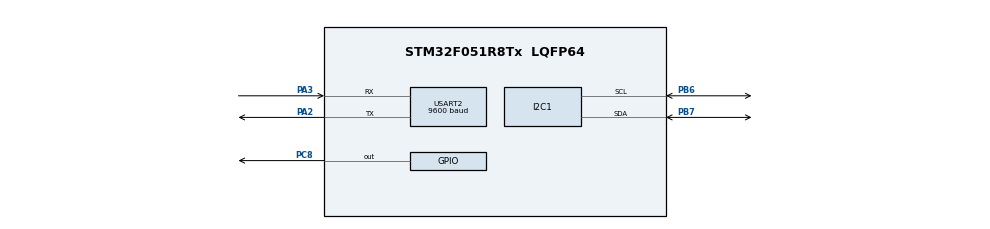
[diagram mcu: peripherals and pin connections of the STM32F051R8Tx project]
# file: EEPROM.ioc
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Mcu.Family=STM32F0
Mcu.Name=STM32F051R8Tx
Mcu.Package=LQFP64
PA2.Mode=Asynchronous
PA2.Signal=USART2_TX
PA3.Mode=Asynchronous
PA3.Signal=USART2_RX
PB6.Mode=I2C
PB6.Signal=I2C1_SCL
PB7.Mode=I2C
PB7.Signal=I2C1_SDA
PC8.Signal=GPIO_Output
ProjectManager.HeapSize=0x200
ProjectManager.StackSize=0x400
ProjectManager.TargetToolchain=STM32CubeIDE
USART2.BaudRate=9600
USART2.VirtualMode-Asynchronous=VM_ASYNC
board=custom

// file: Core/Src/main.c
/* USER CODE BEGIN Header */
/**
 ******************************************************************************
 * @file           : main.c
 * @brief          : Main program body
 ******************************************************************************
 * @attention
 *
 * Copyright (c) 2022 STMicroelectronics.
 * All rights reserved.
 *
 * This software is licensed under terms that can be found in the LICENSE file
 * in the root directory of this software component.
 * If no LICENSE file comes with this software, it is provided AS-IS.
 *
 ******************************************************************************
 */
/* USER CODE END Header */
#include "main.h"

/* USER CODE BEGIN Includes */
#include "string.h"
#include "stm32f0xx_hal.h"

/* USER CODE END Includes */

/* USER CODE BEGIN PD */
#define DELAY 1000
/* USER CODE END PD */

I2C_HandleTypeDef hi2c1;
UART_HandleTypeDef huart2;

/* USER CODE BEGIN PV */
//static const uint8_t EEPROM_ADDR_R = 0xAB; // 1010 (Required by chip), 1011 (As wired on my board: A2 A1 A0 + R)
//static const uint8_t EEPROM_ADDR_W = 0xAA; // 1010 (Required by chip), 1010 (As wired on my board: A2 A1 A0 + !W)
/* USER CODE END PV */

void SystemClock_Config(void);
static void MX_GPIO_Init(void);
static void MX_USART2_UART_Init(void);
static void MX_I2C1_Init(void);

/* USER CODE BEGIN 0 */
//Global variables
//General purpose Function to send a char array over the UART and to automatically send a new line character after it
void debugPrintln(UART_HandleTypeDef *uart_handle, char _out[]) {
	HAL_UART_Transmit(uart_handle, (uint8_t*) _out, strlen(_out), 60);
	char newline[2] = "\r\n";
	HAL_UART_Transmit(uart_handle, (uint8_t*) newline, 2, 10);
}
/* USER CODE END 0 */

int main(void) {

	/* MCU Configuration--------------------------------------------------------*/

	/* Reset of all peripherals, Initializes the Flash interface and the Systick. */
	HAL_Init();

	/* Configure the system clock */
	SystemClock_Config();

	/* Initialize all configured peripherals */
	MX_GPIO_Init();
	MX_USART2_UART_Init();
	MX_I2C1_Init();

	/* USER CODE BEGIN 2 */
	char str[60] = { 0 }; //Useful buffer for printing to UART
	uint8_t I2CReturn = 0; //Status var to indicate if HAL_I2C operation has succeeded (1) or failed (0);
	uint8_t i, j, Loop = 0; //Loop counters

	//Setup variables for reading and writing
	uint16_t EEPROM_DEVICE_ADDR = 0x55 << 1; //Address of EEPROM device on I2C bus
	uint16_t madd = 0x00; //Memory address variable containing a starting memory address for a location of memory in the EEPROM
	uint8_t Data = 0x10;//Data variable containing sStarting value to write to memory, could be any 8bit value
	uint8_t *sData = &Data;	//Pointer to sending Data variable
	uint8_t Result = 0x00;	//Variable to stored value read back from memory in
	uint8_t *rData = &Result;	//Pointer to result data variable

	/* USER CODE END 2 */

	/* Infinite loop */

	/* USER CODE BEGIN WHILE */

	//Say hello over UART
	debugPrintln(&huart2, "Hello, this is STMF0 Discovery board: ");

	while (1) {

		//Print and increment a loop counter for visual tracking/debugging purposes only
		memset(str, 0, sizeof(str));	//Reset str to zeros
		sprintf(str, "\rLoop count %d\n", Loop);//Format string to include the loop counter variable
		debugPrintln(&huart2, str);
		Loop = Loop + 1;

		//Write and read back 5 different values to 5 different memory locations
		for (i = 0; i < 5; i++) {
			//WRITING
			memset(str, 0, sizeof(str));
			sprintf(str, "Writing 0x%X to EEPROM address 0x%X", Data, madd);
			debugPrintln(&huart2, str);

			I2CReturn = HAL_I2C_Mem_Write(&hi2c1, EEPROM_DEVICE_ADDR, madd, 2,
					sData, 1, HAL_MAX_DELAY);
			if (I2CReturn != HAL_OK) {
				debugPrintln(&huart2, "Write to address FAILED");
			}

			//READING
			memset(str, 0, sizeof(str));
			sprintf(str, "Reading from EEPROM address 0x%X ", madd);
			debugPrintln(&huart2, str);

			I2CReturn = HAL_I2C_Mem_Read(&hi2c1, EEPROM_DEVICE_ADDR, madd, 2,
					rData, 1, HAL_MAX_DELAY);
			if (I2CReturn != HAL_OK) {
				debugPrintln(&huart2, "Read from address FAILED");
			}

			//PRINT READ VALUE
			memset(str, 0, sizeof(str));
			sprintf(str, "Received data: 0x%X \n", Result);
			debugPrintln(&huart2, str);

			//Increment address and data values and clear Result holder
			madd = madd + 1;
			Data = Data + 1;
			Result = 0x00;
			HAL_Delay(1000);  //Pause
		}

		//Read back last 5 values again:
		madd = madd - 5;
		for (j = 0; j < 5; j++) {

			I2CReturn = HAL_I2C_Mem_Read(&hi2c1, EEPROM_DEVICE_ADDR, madd, 2,
					rData, 1, HAL_MAX_DELAY);
			if (I2CReturn != HAL_OK) {
				debugPrintln(&huart2, "Read from address FAILED");
			}

			//PRINT READ VALUE
			memset(str, 0, sizeof(str));
			sprintf(str, "Address 0x%X contains: 0x%X ", madd, Result);
			debugPrintln(&huart2, str);

			madd = madd + 1;
		}
		debugPrintln(&huart2, "-------------");

		//Flash Blue LED
		HAL_GPIO_TogglePin(GPIOC, GPIO_PIN_8);
		HAL_Delay(DELAY);
		/* USER CODE END WHILE */

	}
}

void SystemClock_Config(void) {
	RCC_OscInitTypeDef RCC_OscInitStruct = { 0 };
	RCC_ClkInitTypeDef RCC_ClkInitStruct = { 0 };
	RCC_PeriphCLKInitTypeDef PeriphClkInit = { 0 };

	/** Initializes the RCC Oscillators according to the specified parameters
	 * in the RCC_OscInitTypeDef structure.
	 */
	RCC_OscInitStruct.OscillatorType = RCC_OSCILLATORTYPE_HSI;
	RCC_OscInitStruct.HSIState = RCC_HSI_ON;
	RCC_OscInitStruct.HSICalibrationValue = RCC_HSICALIBRATION_DEFAULT;
	RCC_OscInitStruct.PLL.PLLState = RCC_PLL_NONE;
	if (HAL_RCC_OscConfig(&RCC_OscInitStruct) != HAL_OK) {
		Error_Handler();
	}

	/** Initializes the CPU, AHB and APB buses clocks
	 */
	RCC_ClkInitStruct.ClockType = RCC_CLOCKTYPE_HCLK | RCC_CLOCKTYPE_SYSCLK
			| RCC_CLOCKTYPE_PCLK1;
	RCC_ClkInitStruct.SYSCLKSource = RCC_SYSCLKSOURCE_HSI;
	RCC_ClkInitStruct.AHBCLKDivider = RCC_SYSCLK_DIV1;
	RCC_ClkInitStruct.APB1CLKDivider = RCC_HCLK_DIV1;

	if (HAL_RCC_ClockConfig(&RCC_ClkInitStruct, FLASH_LATENCY_0) != HAL_OK) {
		Error_Handler();
	}
	PeriphClkInit.PeriphClockSelection = RCC_PERIPHCLK_I2C1;
	PeriphClkInit.I2c1ClockSelection = RCC_I2C1CLKSOURCE_HSI;
	if (HAL_RCCEx_PeriphCLKConfig(&PeriphClkInit) != HAL_OK) {
		Error_Handler();
	}
}

static void MX_I2C1_Init(void) {

	hi2c1.Instance = I2C1;
	hi2c1.Init.Timing = 0x2000090E;
	hi2c1.Init.OwnAddress1 = 0;
	hi2c1.Init.AddressingMode = I2C_ADDRESSINGMODE_7BIT;
	hi2c1.Init.DualAddressMode = I2C_DUALADDRESS_DISABLE;
	hi2c1.Init.OwnAddress2 = 0;
	hi2c1.Init.OwnAddress2Masks = I2C_OA2_NOMASK;
	hi2c1.Init.GeneralCallMode = I2C_GENERALCALL_DISABLE;
	hi2c1.Init.NoStretchMode = I2C_NOSTRETCH_DISABLE;
	if (HAL_I2C_Init(&hi2c1) != HAL_OK) {
		Error_Handler();
	}

	/** Configure Analogue filter
	 */
	if (HAL_I2CEx_ConfigAnalogFilter(&hi2c1, I2C_ANALOGFILTER_ENABLE)
			!= HAL_OK) {
		Error_Handler();
	}

	/** Configure Digital filter
	 */
	if (HAL_I2CEx_ConfigDigitalFilter(&hi2c1, 0) != HAL_OK) {
		Error_Handler();
	}

}

static void MX_USART2_UART_Init(void) {

	huart2.Instance = USART2;
	huart2.Init.BaudRate = 9600;
	huart2.Init.WordLength = UART_WORDLENGTH_8B;
	huart2.Init.StopBits = UART_STOPBITS_1;
	huart2.Init.Parity = UART_PARITY_NONE;
	huart2.Init.Mode = UART_MODE_TX_RX;
	huart2.Init.HwFlowCtl = UART_HWCONTROL_NONE;
	huart2.Init.OverSampling = UART_OVERSAMPLING_16;
	huart2.Init.OneBitSampling = UART_ONE_BIT_SAMPLE_DISABLE;
	huart2.AdvancedInit.AdvFeatureInit = UART_ADVFEATURE_NO_INIT;
	if (HAL_UART_Init(&huart2) != HAL_OK) {
		Error_Handler();
	}

}

static void MX_GPIO_Init(void) {
	GPIO_InitTypeDef GPIO_InitStruct = { 0 };

	/* GPIO Ports Clock Enable */
	__HAL_RCC_GPIOA_CLK_ENABLE();
	__HAL_RCC_GPIOC_CLK_ENABLE();
	__HAL_RCC_GPIOB_CLK_ENABLE();

	/*Configure GPIO pin Output Level */
	HAL_GPIO_WritePin(GPIOC, GPIO_PIN_8, GPIO_PIN_RESET);

	/*Configure GPIO pin : PC8 */
	GPIO_InitStruct.Pin = GPIO_PIN_8;
	GPIO_InitStruct.Mode = GPIO_MODE_OUTPUT_PP;
	GPIO_InitStruct.Pull = GPIO_NOPULL;
	GPIO_InitStruct.Speed = GPIO_SPEED_FREQ_LOW;
	HAL_GPIO_Init(GPIOC, &GPIO_InitStruct);

}

void Error_Handler(void) {
	__disable_irq();
	while (1) {
	}
}
